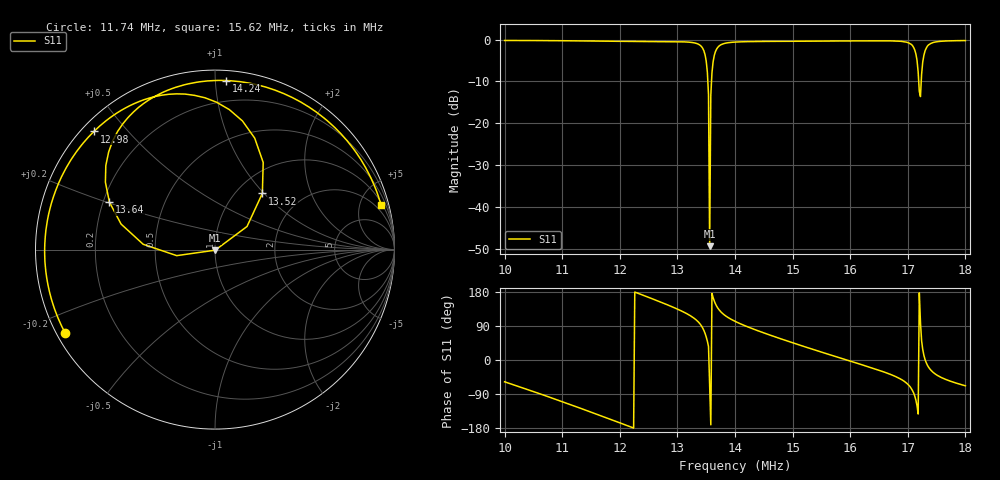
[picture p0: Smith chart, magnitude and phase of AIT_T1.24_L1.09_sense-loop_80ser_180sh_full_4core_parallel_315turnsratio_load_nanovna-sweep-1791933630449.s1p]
! NanoVNA Web complex sweep
! Processing: original sample grid, no browser smoothing
# Hz S RI R 50
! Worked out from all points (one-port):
!   401 points, 10 MHz to 18 MHz, reference 50 ohm
!   lowest |S11| = -49.3 dB at 13.56 MHz (marker M1), VSWR 1.01, Z = 50.1 - j0.325 ohm
!   |S11| at or under -10 dB: 13.52832 MHz to 13.5923 MHz (63.99 kHz wide, 0.472 % of centre); 17.18967 MHz to 17.23339 MHz (43.72 kHz wide, 0.254 % of centre)
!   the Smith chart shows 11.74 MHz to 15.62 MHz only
!   S11 on the Smith chart (normalised r, x): 11.74 MHz: 0.02, -0.26; 12.98 MHz: 0.03, +0.41; 13.52 MHz: 1.30, +0.98; 13.64 MHz: 0.23, +0.20; 14.24 MHz: 0.06, +1.06; 15.62 MHz: 1.20, +7.32
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1e7  0.5231 -0.8214
1.1e7  -0.331 -0.909
1.174e7  -0.8358 -0.4629
1.2e7  -0.9226 -0.2339
1.298e7  -0.6745 0.6585
1.3e7  -0.6583 0.6738
1.344e7  0.0793 0.7803
1.35e7  0.2685 0.4855
1.352e7  0.2639 0.3131
1.356e7  0.00116 -0.00324
1.36e7  -0.4001 0.0296
1.362e7  -0.5232 0.1422
1.364e7  -0.5882 0.2642
1.378e7  -0.4842 0.7362
1.4e7  -0.1957 0.9112
1.424e7  0.0603 0.942
1.5e7  0.6681 0.6795
1.562e7  0.9248 0.2505
1.6e7  0.9592 -0.0488
1.664e7  0.7943 -0.5475
1.7e7  0.4033 -0.8239
1.71e7  0.0503 -0.8054
1.716e7  -0.2868 -0.4891
1.722e7  -0.0347 0.206
1.726e7  0.4825 0.2495
1.734e7  0.8101 -0.1965
1.75e7  0.7267 -0.5957
1.8e7  0.3625 -0.9011
